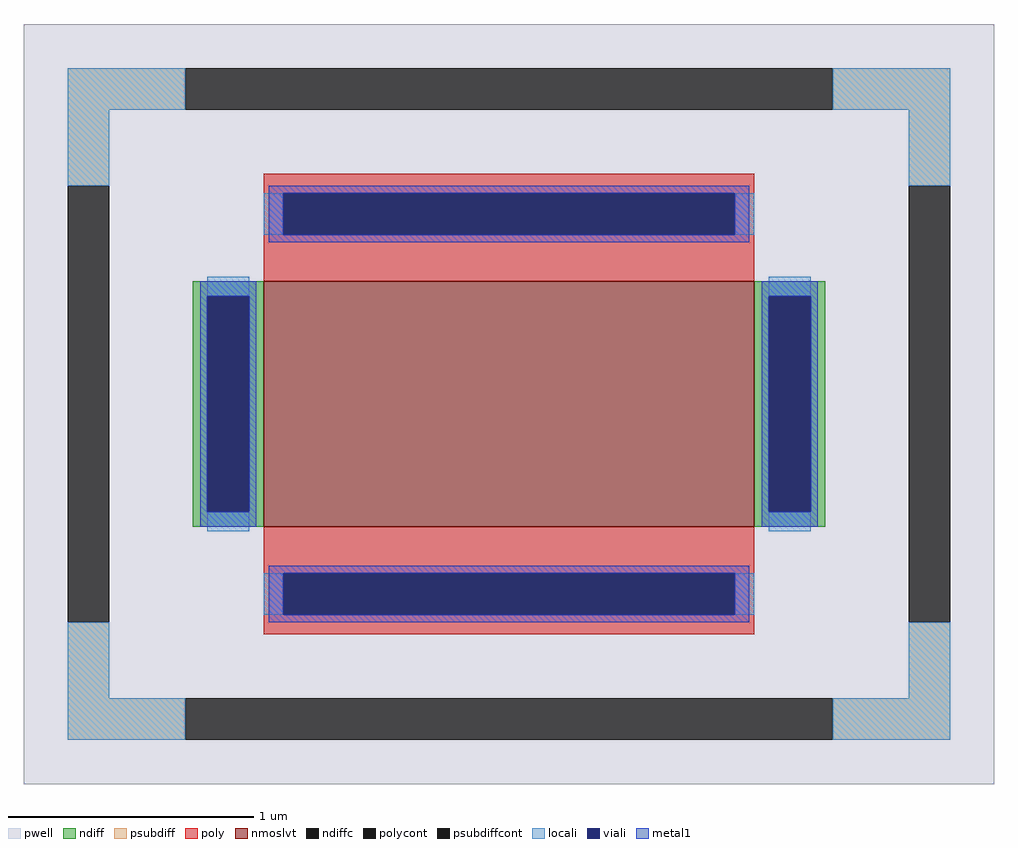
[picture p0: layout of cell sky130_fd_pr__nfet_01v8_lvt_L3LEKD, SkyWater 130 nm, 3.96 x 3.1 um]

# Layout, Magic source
magic
tech sky130A
<< pwell >>
rect -198 -155 198 155
<< nmoslvt >>
rect -100 -50 100 50
<< ndiff >>
rect -129 44 -100 50
rect -129 -44 -123 44
rect -106 -44 -100 44
rect -129 -50 -100 -44
rect 100 44 129 50
rect 100 -44 106 44
rect 123 -44 129 44
rect 100 -50 129 -44
<< ndiffc >>
rect -123 -44 -106 44
rect 106 -44 123 44
<< psubdiff >>
rect -180 120 -132 137
rect 132 120 180 137
rect -180 89 -163 120
rect 163 89 180 120
rect -180 -120 -163 -89
rect 163 -120 180 -89
rect -180 -137 -132 -120
rect 132 -137 180 -120
<< psubdiffcont >>
rect -132 120 132 137
rect -180 -89 -163 89
rect 163 -89 180 89
rect -132 -137 132 -120
<< poly >>
rect -100 86 100 94
rect -100 69 -92 86
rect 92 69 100 86
rect -100 50 100 69
rect -100 -69 100 -50
rect -100 -86 -92 -69
rect 92 -86 100 -69
rect -100 -94 100 -86
<< polycont >>
rect -92 69 92 86
rect -92 -86 92 -69
<< locali >>
rect -180 120 -132 137
rect 132 120 180 137
rect -180 89 -163 120
rect 163 89 180 120
rect -100 69 -92 86
rect 92 69 100 86
rect -123 44 -106 52
rect -123 -52 -106 -44
rect 106 44 123 52
rect 106 -52 123 -44
rect -100 -86 -92 -69
rect 92 -86 100 -69
rect -180 -120 -163 -89
rect 163 -120 180 -89
rect -180 -137 -132 -120
rect 132 -137 180 -120
<< viali >>
rect -92 69 92 86
rect -123 -44 -106 44
rect 106 -44 123 44
rect -92 -86 92 -69
<< metal1 >>
rect -98 86 98 89
rect -98 69 -92 86
rect 92 69 98 86
rect -98 66 98 69
rect -126 44 -103 50
rect -126 -44 -123 44
rect -106 -44 -103 44
rect -126 -50 -103 -44
rect 103 44 126 50
rect 103 -44 106 44
rect 123 -44 126 44
rect 103 -50 126 -44
rect -98 -69 98 -66
rect -98 -86 -92 -69
rect 92 -86 98 -69
rect -98 -89 98 -86
<< properties >>
string FIXED_BBOX -171 -128 171 128
string gencell sky130_fd_pr__nfet_01v8_lvt
string library sky130
string parameters w 1 l 2 m 1 nf 1 diffcov 100 polycov 100 guard 1 glc 1 grc 1 gtc 1 gbc 1 tbcov 100 rlcov 100 topc 1 botc 1 poverlap 0 doverlap 1 lmin 0.15 wmin 0.42 compatible {sky130_fd_pr__nfet_01v8 sky130_fd_pr__nfet_01v8_lvt  sky130_fd_bs_flash__special_sonosfet_star  sky130_fd_pr__nfet_g5v0d10v5 sky130_fd_pr__nfet_05v0_nvt  sky130_fd_pr__nfet_03v3_nvt} full_metal 1 viasrc 100 viadrn 100 viagate 100 viagb 0 viagr 0 viagl 0 viagt 0
<< end >>
